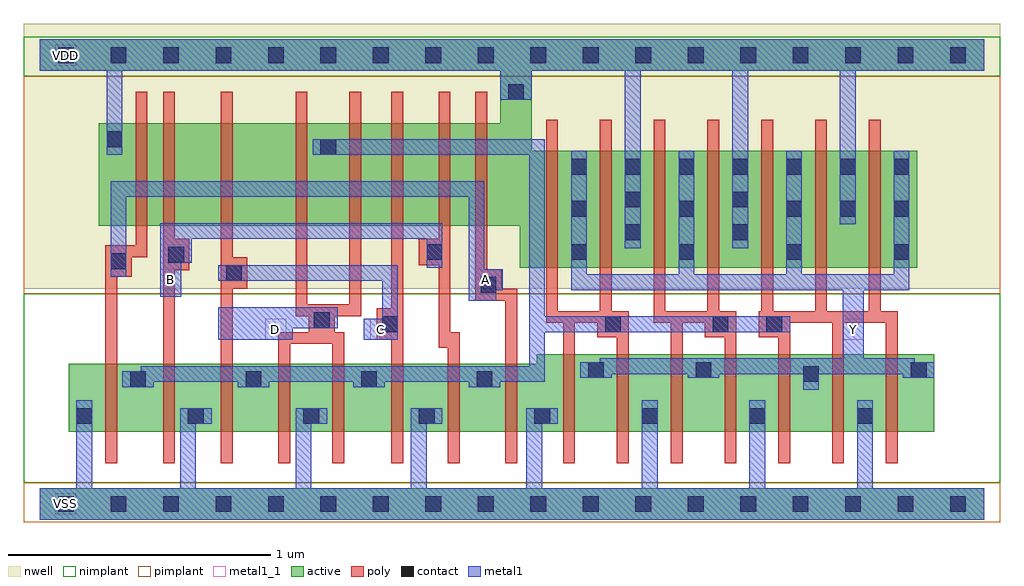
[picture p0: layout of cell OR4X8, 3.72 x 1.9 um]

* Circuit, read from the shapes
.subckt OR4X8 A B C D VDD VSS Y
M1 n1 A VSS VSS nfet w=0.26u l=0.045u m=2
M2 VSS B n1 VSS nfet w=0.26u l=0.045u m=2
M3 n1 C VSS VSS nfet w=0.26u l=0.045u m=2
M4 VSS D n1 VSS nfet w=0.26u l=0.045u m=2
M5 Y n1 VSS VSS nfet w=0.295u l=0.045u m=7
M6 n2 A VDD VDD pfet w=0.39u l=0.045u
M7 n3 B n2 VDD pfet w=0.39u l=0.045u
M8 n4 C n3 VDD pfet w=0.39u l=0.045u
M9 n1 D n4 VDD pfet w=0.39u l=0.045u
M10 n5 D n1 VDD pfet w=0.39u l=0.045u
M11 n6 C n5 VDD pfet w=0.39u l=0.045u
M12 n7 B n6 VDD pfet w=0.39u l=0.045u
M13 VDD A n7 VDD pfet w=0.39u l=0.045u
M14 Y n1 VDD VDD pfet w=0.445u l=0.045u m=7
.ends

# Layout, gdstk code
import gdstk
lib = gdstk.Library(unit=1e-6, precision=5e-10)
def R(c, l, rs):  # rectangles x0, y0, x1, y1
    for r in rs: c.add(gdstk.rectangle(r[:2], r[2:], *l))
def A(c, l, x, y, w, h, nx, ny, dx, dy):  # array of equal rectangles
    R(c, l, [(x+i*dx, y+j*dy, x+i*dx+w, y+j*dy+h) for i in range(nx) for j in range(ny)])
def P(c, l, *ps):  # polygons
    for p in ps: c.add(gdstk.Polygon(p, *l))
active = (1, 0)
nwell = (2, 0)
poly = (3, 0)
nimplant = (4, 0)
pimplant = (5, 0)
contact = (6, 0)
metal1 = (7, 0)
metal1_1 = (7, 1)

or4x8 = lib.new_cell('OR4X8')
R(or4x8, active, [(0,-0.06,3.6,0.06)])
P(or4x8, active, [(0,1.77),(3.6,1.77),(3.6,1.65),(1.875,1.65),(1.875,1.345),(3.345,1.345),(3.345,0.9),(1.83,0.9),(1.83,1.06),(0.225,1.06),(0.225,1.45),(1.755,1.45),(1.755,1.65),(0,1.65)],
  [(1.895,0.57),(3.41,0.57),(3.41,0.275),(0.11,0.275),(0.11,0.535),(1.895,0.535)])
R(or4x8, nwell, [(-0.06,0.82,3.66,1.83)])
P(or4x8, poly, [(0.365,1.57),(0.41,1.57),(0.41,0.94),(0.35,0.94),(0.35,0.865),(0.295,0.865),(0.295,0.155),(0.25,0.155),(0.25,0.985),(0.365,0.985)],
  [(0.47,1.57),(0.515,1.57),(0.515,1.01),(0.57,1.01),(0.57,0.89),(0.515,0.89),(0.515,0.155),(0.47,0.155)],
  [(0.69,1.57),(0.735,1.57),(0.735,0.94),(0.79,0.94),(0.79,0.82),(0.735,0.82),(0.735,0.155),(0.69,0.155)],
  [(0.975,1.57),(1.02,1.57),(1.02,0.76),(1.18,0.76),(1.18,1.57),(1.225,1.57),(1.225,0.715),(1.125,0.715),(1.125,0.655),(1.16,0.655),(1.16,0.155),(1.115,0.155),(1.115,0.61),(0.955,0.61),(0.955,0.155),(0.91,0.155),(0.91,0.655),(1.025,0.655),(1.025,0.715),(0.975,0.715)],
  [(1.34,1.57),(1.385,1.57),(1.385,0.155),(1.34,0.155),(1.34,0.625),(1.285,0.625),(1.285,0.745),(1.34,0.745)],
  [(1.52,1.57),(1.565,1.57),(1.565,0.655),(1.6,0.655),(1.6,0.155),(1.555,0.155),(1.555,0.595),(1.52,0.595),(1.52,0.91),(1.445,0.91),(1.445,1.01),(1.52,1.01)],
  [(1.66,1.57),(1.705,1.57),(1.705,0.895),(1.76,0.895),(1.76,0.82),(1.82,0.82),(1.82,0.155),(1.775,0.155),(1.775,0.775),(1.66,0.775)],
  [(1.93,1.465),(1.975,1.465),(1.975,0.735),(2.135,0.735),(2.135,1.465),(2.18,1.465),(2.18,0.735),(2.245,0.735),(2.245,0.155),(2.2,0.155),(2.2,0.635),(2.125,0.635),(2.125,0.69),(2.04,0.69),(2.04,0.155),(1.995,0.155),(1.995,0.69),(1.93,0.69)],
  [(2.34,1.465),(2.385,1.465),(2.385,0.735),(2.545,0.735),(2.545,1.465),(2.59,1.465),(2.59,0.735),(2.655,0.735),(2.655,0.155),(2.61,0.155),(2.61,0.635),(2.535,0.635),(2.535,0.69),(2.45,0.69),(2.45,0.155),(2.405,0.155),(2.405,0.69),(2.34,0.69)],
  [(2.75,1.465),(2.795,1.465),(2.795,0.735),(2.955,0.735),(2.955,1.465),(3,1.465),(3,0.735),(3.16,0.735),(3.16,1.465),(3.205,1.465),(3.205,0.735),(3.27,0.735),(3.27,0.155),(3.225,0.155),(3.225,0.69),(3.065,0.69),(3.065,0.155),(3.02,0.155),(3.02,0.69),(2.86,0.69),(2.86,0.155),(2.815,0.155),(2.815,0.635),(2.74,0.635),(2.74,0.735),(2.75,0.735)])
R(or4x8, nimplant, [(-0.06,0.08,3.66,0.8), (-0.06,1.63,3.66,1.78)])
R(or4x8, pimplant, [(-0.06,-0.07,3.66,0.08), (-0.06,0.8,3.66,1.63)])
A(or4x8, contact, 0.07, -0.03, 0.06, 0.06, 18, 2, 0.2, 1.71)
A(or4x8, contact, 0.565, 0.305, 0.06, 0.06, 4, 1, 0.44, 0)
A(or4x8, contact, 2.295, 0.305, 0.06, 0.06, 3, 1, 0.41, 0)
A(or4x8, contact, 0.345, 0.445, 0.06, 0.06, 4, 1, 0.44, 0)
A(or4x8, contact, 2.025, 0.93, 0.06, 0.06, 4, 1, 0.41, 0)
A(or4x8, contact, 2.025, 1.095, 0.06, 0.06, 3, 1, 0.41, 0)
A(or4x8, contact, 2.025, 1.255, 0.06, 0.06, 7, 1, 0.205, 0)
R(or4x8, contact, [(0.14,0.305,0.2,0.365), (2.91,0.465,2.97,0.525), (2.09,0.48,2.15,0.54), (2.5,0.48,2.56,0.54), (3.32,0.48,3.38,0.54), (1.305,0.655,1.365,0.715), (2.155,0.655,2.215,0.715), (2.565,0.655,2.625,0.715), (2.77,0.655,2.83,0.715), (1.045,0.67,1.105,0.73), (1.68,0.805,1.74,0.865), (0.71,0.85,0.77,0.91), (0.27,0.895,0.33,0.955), (0.49,0.92,0.55,0.98), (1.475,0.93,1.535,0.99), (2.23,1.005,2.29,1.065), (2.64,1.005,2.7,1.065), (3.05,1.095,3.11,1.155), (3.255,1.095,3.315,1.155), (2.23,1.13,2.29,1.19), (2.64,1.13,2.7,1.19), (1.07,1.33,1.13,1.39), (0.255,1.36,0.315,1.42), (1.785,1.54,1.845,1.6)])
P(or4x8, metal1, [(0,1.77),(3.6,1.77),(3.6,1.65),(3.11,1.65),(3.11,1.065),(3.05,1.065),(3.05,1.65),(2.7,1.65),(2.7,0.975),(2.64,0.975),(2.64,1.65),(2.29,1.65),(2.29,0.975),(2.23,0.975),(2.23,1.65),(1.875,1.65),(1.875,1.54),(1.755,1.54),(1.755,1.65),(0.315,1.65),(0.315,1.33),(0.255,1.33),(0.255,1.65),(0,1.65)],
  [(2.025,1.345),(2.085,1.345),(2.085,0.875),(2.435,0.875),(2.435,1.345),(2.495,1.345),(2.495,0.875),(2.845,0.875),(2.845,1.345),(2.905,1.345),(2.905,0.875),(3.255,0.875),(3.255,1.345),(3.315,1.345),(3.315,0.815),(3.14,0.815),(3.14,0.555),(3.335,0.555),(3.335,0.54),(3.41,0.54),(3.41,0.48),(3.29,0.48),(3.29,0.495),(2.97,0.495),(2.97,0.435),(2.91,0.435),(2.91,0.495),(2.59,0.495),(2.59,0.48),(2.47,0.48),(2.47,0.495),(2.18,0.495),(2.18,0.48),(2.06,0.48),(2.06,0.54),(2.135,0.54),(2.135,0.555),(3.06,0.555),(3.06,0.815),(2.025,0.815)],
  [(1.04,1.39),(1.925,1.39),(1.925,0.715),(2.86,0.715),(2.86,0.655),(1.925,0.655),(1.925,0.465),(1.755,0.465),(1.755,0.445),(1.635,0.445),(1.635,0.465),(1.315,0.465),(1.315,0.445),(1.195,0.445),(1.195,0.465),(0.875,0.465),(0.875,0.445),(0.755,0.445),(0.755,0.465),(0.435,0.465),(0.435,0.445),(0.315,0.445),(0.315,0.505),(0.385,0.505),(0.385,0.525),(1.865,0.525),(1.865,1.33),(1.04,1.33)],
  [(0.27,1.23),(1.695,1.23),(1.695,0.895),(1.765,0.895),(1.765,0.815),(1.74,0.815),(1.74,0.775),(1.635,0.775),(1.635,1.17),(0.33,1.17),(0.33,0.865),(0.27,0.865)],
  [(0.46,1.07),(1.535,1.07),(1.535,0.9),(1.475,0.9),(1.475,1.01),(0.58,1.01),(0.58,0.92),(0.54,0.92),(0.54,0.79),(0.46,0.79)],
  [(0.68,0.91),(1.365,0.91),(1.365,0.625),(1.235,0.625),(1.235,0.705),(1.305,0.705),(1.305,0.85),(0.68,0.85)],
  [(0.68,0.75),(1.135,0.75),(1.135,0.67),(0.965,0.67),(0.965,0.625),(0.68,0.625)],
  [(0.14,0.395),(0.2,0.395),(0.2,0.06),(0.535,0.06),(0.535,0.365),(0.655,0.365),(0.655,0.305),(0.595,0.305),(0.595,0.06),(0.975,0.06),(0.975,0.365),(1.095,0.365),(1.095,0.305),(1.035,0.305),(1.035,0.06),(1.415,0.06),(1.415,0.365),(1.535,0.365),(1.535,0.305),(1.475,0.305),(1.475,0.06),(1.855,0.06),(1.855,0.365),(1.975,0.365),(1.975,0.305),(1.915,0.305),(1.915,0.06),(2.295,0.06),(2.295,0.395),(2.355,0.395),(2.355,0.06),(2.705,0.06),(2.705,0.395),(2.765,0.395),(2.765,0.06),(3.115,0.06),(3.115,0.395),(3.175,0.395),(3.175,0.06),(3.6,0.06),(3.6,-0.06),(0,-0.06),(0,0.06),(0.14,0.06)])
R(or4x8, metal1_1, [(0.06,-0.04,0.14,0.04), (0.86,0.625,0.94,0.705), (1.26,0.625,1.34,0.705), (3.06,0.625,3.14,0.705), (0.46,0.815,0.54,0.895), (1.66,0.815,1.74,0.895), (0.06,1.67,0.14,1.75)])
or4x8.add(gdstk.Label('Y', (3.1,0.665), layer=7, texttype=1))
or4x8.add(gdstk.Label('A', (1.7,0.855), layer=7, texttype=1))
or4x8.add(gdstk.Label('B', (0.5,0.855), layer=7, texttype=1))
or4x8.add(gdstk.Label('C', (1.3,0.665), layer=7, texttype=1))
or4x8.add(gdstk.Label('D', (0.9,0.665), layer=7, texttype=1))
or4x8.add(gdstk.Label('VDD', (0.1,1.71), layer=7, texttype=1))
or4x8.add(gdstk.Label('VSS', (0.1,0), layer=7, texttype=1))
or4x8.add(gdstk.Label('OR4X8', (0,0), layer=63, texttype=0))

lib.write_gds('OR4X8.gds')
